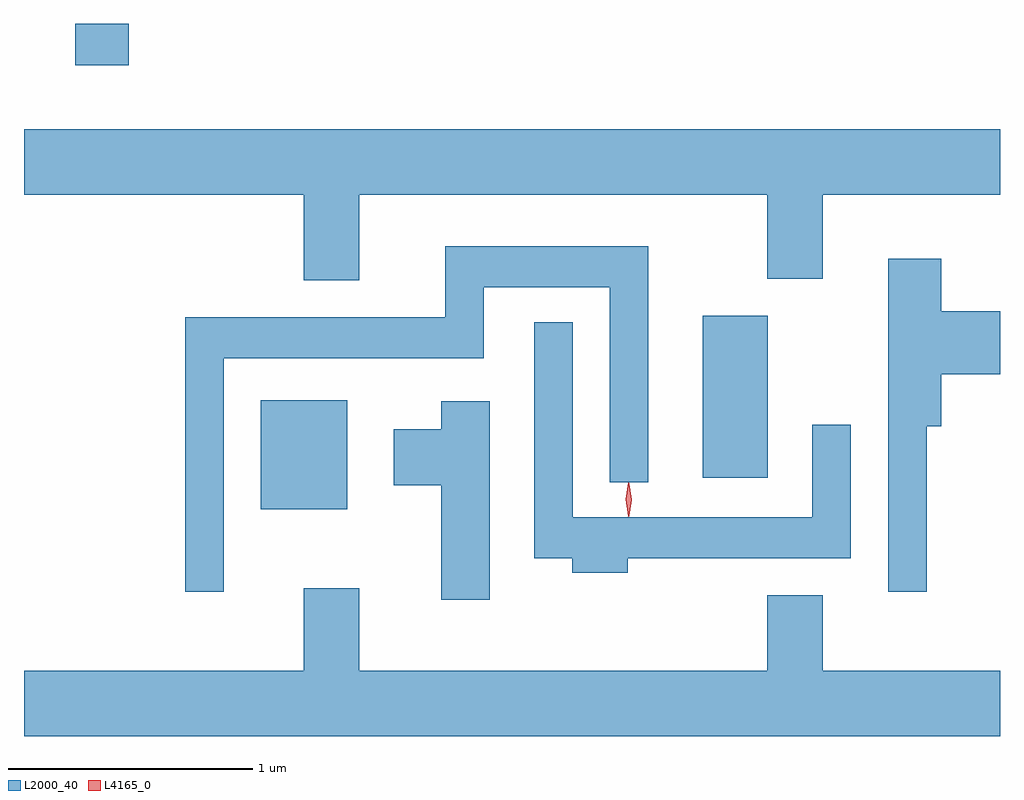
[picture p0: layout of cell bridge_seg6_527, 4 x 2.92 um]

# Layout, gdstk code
import gdstk
lib = gdstk.Library(unit=1e-6, precision=1e-09)
def R(c, l, rs):  # rectangles x0, y0, x1, y1
    for r in rs: c.add(gdstk.rectangle(r[:2], r[2:], *l))
def P(c, l, *ps):  # polygons
    for p in ps: c.add(gdstk.Polygon(p, *l))
L2000_40 = (2000, 40)
L4165_0 = (4165, 0)

bridge_seg6_527 = lib.new_cell('bridge_seg6_527')
R(bridge_seg6_527, L2000_40, [(449.506,1650.866,449.859,1651.314), (451.316,1650.996,451.584,1651.659), (448.746,1652.686,448.964,1652.857)])
P(bridge_seg6_527, L2000_40, [(449.909,1652.156),(451.581,1652.156),(451.581,1651.811),(451.809,1651.811),(451.809,1652.156),(452.535,1652.156),(452.535,1652.424),(448.535,1652.424),(448.535,1652.156),(449.681,1652.156),(449.681,1651.806),(449.909,1651.806)],
  [(449.354,1651.486),(450.419,1651.486),(450.419,1651.776),(450.936,1651.776),(450.936,1650.978),(451.094,1650.978),(451.094,1651.944),(450.261,1651.944),(450.261,1651.654),(449.196,1651.654),(449.196,1650.528),(449.354,1650.528)],
  [(452.234,1651.206),(452.294,1651.206),(452.294,1651.421),(452.535,1651.421),(452.535,1651.679),(452.294,1651.679),(452.294,1651.894),(452.076,1651.894),(452.076,1650.528),(452.234,1650.528)],
  [(451.009,1650.666),(451.924,1650.666),(451.924,1651.213),(451.766,1651.213),(451.766,1650.834),(450.784,1650.834),(450.784,1651.633),(450.626,1651.633),(450.626,1650.666),(450.781,1650.666),(450.781,1650.606),(451.009,1650.606)],
  [(450.444,1651.309),(450.246,1651.309),(450.246,1651.194),(450.051,1651.194),(450.051,1650.966),(450.246,1650.966),(450.246,1650.496),(450.444,1650.496)],
  [(452.535,1650.204),(451.809,1650.204),(451.809,1650.514),(451.581,1650.514),(451.581,1650.204),(449.909,1650.204),(449.909,1650.544),(449.681,1650.544),(449.681,1650.204),(448.535,1650.204),(448.535,1649.936),(452.535,1649.936)])
P(bridge_seg6_527, L4165_0, [(451.012,1650.837),(451.012,1650.838),(451.002,1650.907),(451.012,1650.976),(451.012,1650.976),(451.013,1650.976),(451.022,1650.907),(451.013,1650.838)],
  [(451.015,1650.839),(451.015,1650.84),(451.005,1650.906),(451.014,1650.972),(451.015,1650.973),(451.016,1650.972),(451.025,1650.906),(451.016,1650.84)])

lib.write_gds('bridge_seg6_527.gds')
